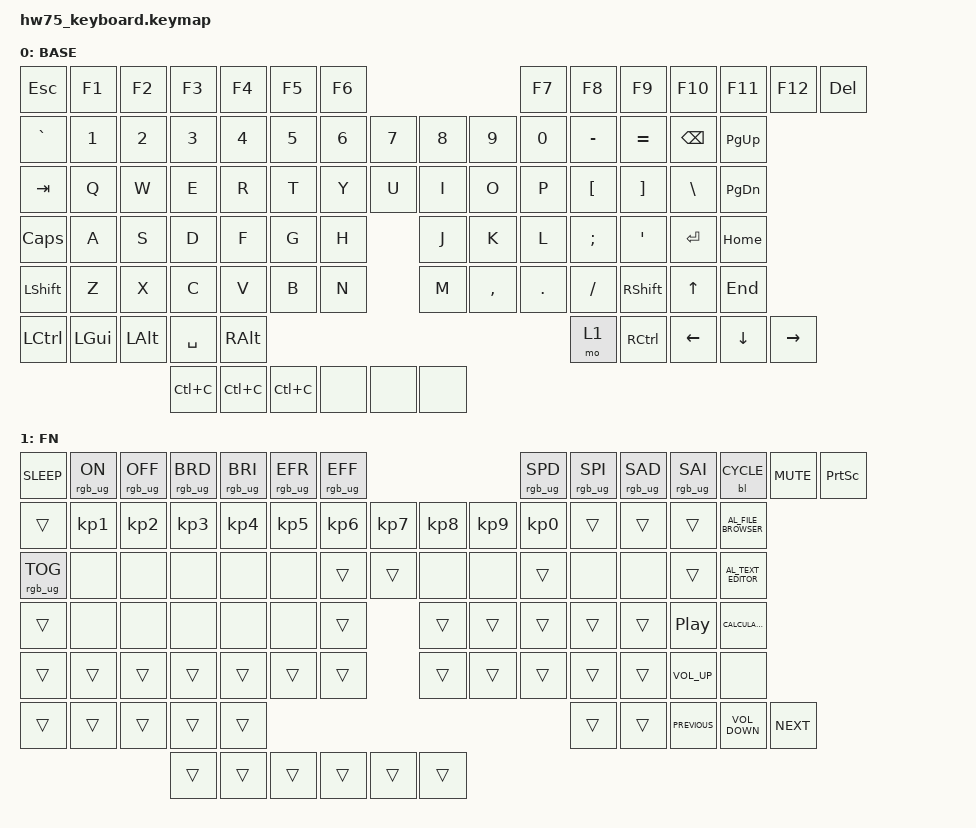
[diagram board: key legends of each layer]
/*
 * Copyright (c) 2022 The ZMK Contributors
 * SPDX-License-Identifier: MIT
 */

#include <behaviors.dtsi>
#include <dt-bindings/zmk/backlight.h>
#include <dt-bindings/zmk/keys.h>
#include <dt-bindings/zmk/rgb.h>

#define BASE 0
#define FN 1
#define TOUCH 2

&sl { release-after-ms = <500>; };

/ {
    keymap {
        compatible = "zmk,keymap";

        base {
            label = "BASE";
            bindings = <
&kp ESC              &kp F1    &kp F2     &kp F3     &kp F4                &kp F5  &kp F6  &kp F7     &kp F8               &kp F9     &kp F10   &kp F11   &kp F12              &kp DELETE
&kp GRAVE  &kp N1    &kp N2    &kp N3     &kp N4     &kp N5     &kp N6     &kp N7  &kp N8  &kp N9     &kp N0    &kp MINUS  &kp EQUAL  &kp BSPC                                 &kp PAGE_UP
&kp TAB              &kp Q     &kp W      &kp E      &kp R      &kp T      &kp Y   &kp U   &kp I      &kp O     &kp P      &kp LBKT   &kp RBKT  &kp BSLH                       &kp PAGE_DOWN
&kp CLCK             &kp A     &kp S      &kp D      &kp F      &kp G      &kp H   &kp J   &kp K      &kp L     &kp SEMI   &kp SQT              &kp RET                        &kp HOME
&kp LSHFT            &kp Z     &kp X      &kp C      &kp V      &kp B      &kp N   &kp M   &kp COMMA  &kp DOT   &kp FSLH   &kp RSHFT                      &kp UP               &kp END
&kp LCTRL  &kp LGUI  &kp LALT                                   &kp SPACE                             &kp RALT  &mo 1      &kp RCTRL            &kp LEFT  &kp DOWN  &kp RIGHT
                               &kp LC(C)  &kp LC(C)  &kp LC(C)  &none      &none   &none
            >;
        };

        fn {
            label = "FN";
            bindings = <
&kp K_SLEEP                       &rgb_ug RGB_ON   &rgb_ug RGB_OFF  &rgb_ug RGB_BRD  &rgb_ug RGB_BRI                   &rgb_ug RGB_EFR  &rgb_ug RGB_EFF  &rgb_ug RGB_SPD  &rgb_ug RGB_SPI          &rgb_ug RGB_SAD  &rgb_ug RGB_SAI  &bl BL_CYCLE      &kp C_MUTE                     &kp PRINTSCREEN
&trans           &kp KP_NUMBER_1  &kp KP_NUMBER_2  &kp KP_NUMBER_3  &kp KP_NUMBER_4  &kp KP_NUMBER_5  &kp KP_NUMBER_6  &kp KP_NUMBER_7  &kp KP_NUMBER_8  &kp KP_NUMBER_9  &kp KP_NUMBER_0  &trans  &trans           &trans                                                            &kp C_AL_FILE_BROWSER
&rgb_ug RGB_TOG                   &none            &none            &none            &none            &none            &trans           &trans           &none            &none            &trans  &none            &none            &trans                                           &kp C_AL_TEXT_EDITOR
&trans                            &none            &none            &none            &none            &none            &trans           &trans           &trans           &trans           &trans  &trans                            &kp C_PLAY_PAUSE                                 &kp K_CALCULATOR
&trans                            &trans           &trans           &trans           &trans           &trans           &trans           &trans           &trans           &trans           &trans  &trans                                              &kp C_VOLUME_UP                &none
&trans           &trans           &trans                                                              &trans                                                              &trans           &trans  &trans                            &kp C_PREVIOUS    &kp C_VOLUME_DOWN  &kp C_NEXT
                                                   &trans           &trans           &trans           &trans           &trans           &trans
            >;
        };
    };
};
